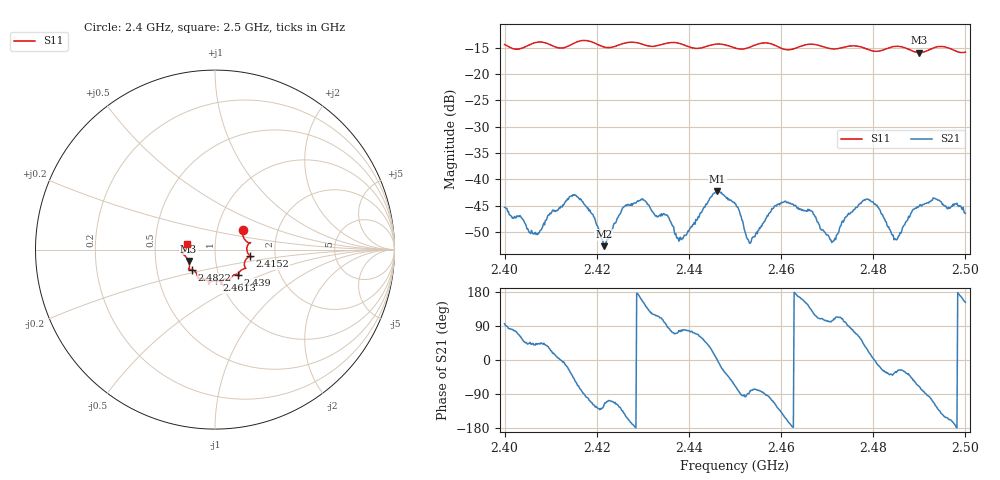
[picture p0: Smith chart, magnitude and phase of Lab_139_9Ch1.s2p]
# Hz S RI R 50
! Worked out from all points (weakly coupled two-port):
!   601 points, 2.4 GHz to 2.5 GHz, reference 50 ohm
!   highest |S21| = -42.29 dB at 2.4462 GHz (marker M1); lowest = -52.7 dB at 2.4215 GHz (marker M2)
!   lowest |S11| = -15.9 dB at 2.49 GHz (marker M3), VSWR 1.38, Z = 36.9 - j4.83 ohm
!   |S11| at or under -10 dB: start of sweep to end of sweep
!   S12 and S22 are empty: the file has one direction only
!   S11 on the Smith chart (normalised r, x): 2.4 GHz: 1.33, +0.31; 2.4152 GHz: 1.48, -0.11; 2.439 GHz: 1.24, -0.36; 2.4613 GHz: 0.96, -0.34; 2.4822 GHz: 0.76, -0.17; 2.5 GHz: 0.72, +0.05
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2.4e9  0.156 0.1112  -0.00053 0.00538  0 0  0 0
2.407e9  0.1976 0.0381  0.00229 0.00199  0 0  0 0
2.415167e9  0.1947 -0.0361  0.00442 -0.00559  0 0  0 0
2.416667e9  0.2043 -0.0419  0.001 -0.00626  0 0  0 0
2.4215e9  0.1738 -0.0533  -0.00122 -0.00196  0 0  0 0
2.426333e9  0.1703 -0.1025  -0.00488 -0.00292  0 0  0 0
2.430167e9  0.1573 -0.1086  -0.00557 0.00302  0 0  0 0
2.433333e9  0.1332 -0.1325  -0.00187 0.00399  0 0  0 0
2.439e9  0.1281 -0.1392  0.000504 0.0029  0 0  0 0
2.446167e9  0.0852 -0.1738  0.00768 2.87e-05  0 0  0 0
2.45e9  0.0687 -0.1638  0.00217 -0.00548  0 0  0 0
2.453167e9  0.0374 -0.1765  0.000204 -0.00245  0 0  0 0
2.461333e9  0.00764 -0.1706  -0.00558 -0.00219  0 0  0 0
2.466667e9  -0.0332 -0.1901  -0.00317 0.00382  0 0  0 0
2.471167e9  -0.0553 -0.1651  -0.000654 0.00248  0 0  0 0
2.478167e9  -0.0973 -0.1473  0.00511 0.00387  0 0  0 0
2.482167e9  -0.1279 -0.112  0.00387 -0.00213  0 0  0 0
2.483333e9  -0.1392 -0.1105  0.00283 -0.00214  0 0  0 0
2.485e9  -0.1473 -0.1109  0.00223 -0.00144  0 0  0 0
2.49e9  -0.1471 -0.0638  0.00192 -0.00525  0 0  0 0
2.4935e9  -0.1785 -0.0254  -0.00329 -0.00565  0 0  0 0
2.5e9  -0.1587 0.0335  -0.00421 0.0022  0 0  0 0
